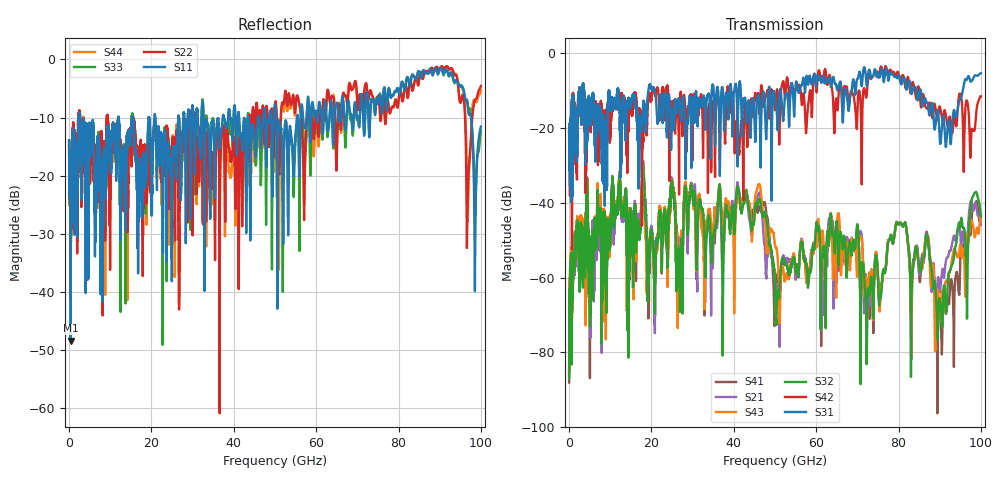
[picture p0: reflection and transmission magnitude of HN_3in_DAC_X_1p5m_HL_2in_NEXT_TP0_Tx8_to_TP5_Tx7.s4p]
# GHz S RI R 45
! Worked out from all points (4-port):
!   4000 points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, 25 MHz to 100 GHz, reference 45 ohm
!   strongest paths, dB at 25 MHz, 25.02 GHz, 50.02 GHz, 75.03 GHz, 100 GHz:
!     S31: -20.8, -17.4, -12.1, -5.4, -5.3
!     S42: -20.8, -16.2, -15.1, -5.7, -11.5
!     S32: -87.0, -35.7, -62.1, -60.0, -43.6
!     S43: -86.2, -35.5, -51.3, -60.7, -43.6
!     S21: -85.1, -35.4, -60.8, -60.2, -45.9
!     S41: -88.1, -35.1, -71.1, -60.4, -43.4
!   lowest |S11| = -48.4 dB at 425 MHz (marker M1), VSWR 1.01, Z = 44.9 - j0.332 ohm
!   |S11| at or under -10 dB: 2.655 GHz to 12 GHz (9.34 GHz wide, 128 % of centre); 20.98 GHz to 26.53 GHz (5.549 GHz wide, 23.4 % of centre); 50.28 GHz to 55.33 GHz (5.048 GHz wide, 9.56 % of centre)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
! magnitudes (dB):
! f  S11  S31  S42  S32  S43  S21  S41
! 25 MHz  -13.9  -20.8  -20.8  -87.0  -86.2  -85.1  -88.1
! 425 MHz  -48.4  -20.2  -20.1  -59.4  -57.4  -60.9  -59.3
! 18 GHz  -19.9  -14.8  -22.6  -30.1  -31.5  -28.9  -30.2
! 50.8 GHz  -12.6  -17.6  -13.7  -64.0  -57.0  -62.4  -58.3
! 81.3 GHz  -4.9  -6.5  -6.7  -46.0  -45.8  -45.9  -45.9
! 90.35 GHz  -1.5  -22.4  -16.1  -69.2  -65.7  -60.6  -73.5
! 100 GHz  -11.5  -5.3  -11.5  -43.6  -43.6  -45.9  -43.4
